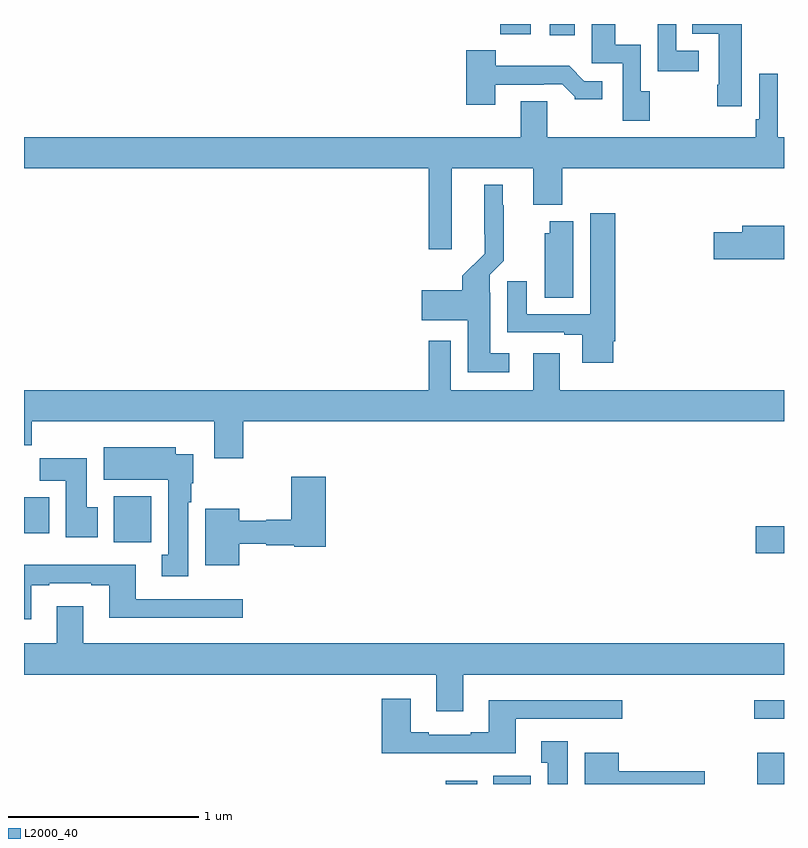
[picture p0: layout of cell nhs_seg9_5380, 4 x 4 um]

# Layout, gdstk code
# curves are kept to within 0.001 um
import gdstk
lib = gdstk.Library(unit=1e-6, precision=1e-09)
def R(c, l, rs):  # rectangles x0, y0, x1, y1
    for r in rs: c.add(gdstk.rectangle(r[:2], r[2:], *l))
def P(c, l, *ps):  # polygons
    for p in ps: c.add(gdstk.Polygon(p, *l))
L2000_40 = (2000, 40)

nhs_seg9_5380 = lib.new_cell('nhs_seg9_5380')
R(nhs_seg9_5380, L2000_40, [(425.219,1206.5,425.386,1206.517), (425.471,1206.5,425.668,1206.544), (426.86,1206.5,427,1206.664), (426.843,1206.843,427,1206.94), (426.852,1207.714,427,1207.856), (423.473,1207.772,423.67,1208.014), (423,1207.82,423.133,1208.008), (425.768,1210.44,425.899,1210.5), (425.506,1210.445,425.668,1210.5)])
P(nhs_seg9_5380, L2000_40, [(426.294,1210.146),(426.246,1210.146),(426.246,1210.39),(426.112,1210.39),(426.112,1210.5),(425.987,1210.5),(425.987,1210.293),(426.15,1210.293),(426.15,1209.99),(426.294,1209.99)],
  [(426.778,1210.5),(426.517,1210.5),(426.517,1210.448),(426.656,1210.448),(426.656,1210.18),(426.649,1210.18),(426.649,1210.068),(426.778,1210.068)],
  [(426.55,1210.359),(426.432,1210.359),(426.432,1210.5),(426.336,1210.5),(426.336,1210.251),(426.55,1210.251)],
  [(425.479,1210.179),(425.735,1210.179),(425.735,1210.182),(425.834,1210.182),(425.898,1210.118),(425.898,1210.103),(426.043,1210.103),(426.043,1210.2),(425.949,1210.2),(425.871,1210.279),(425.482,1210.279),(425.482,1210.363),(425.327,1210.363),(425.327,1210.074),(425.479,1210.074)],
  [(425.251,1209.74),(425.681,1209.74),(425.681,1209.548),(425.834,1209.548),(425.834,1209.74),(427,1209.74),(427,1209.904),(426.967,1209.904),(426.967,1210.237),(426.87,1210.237),(426.87,1210),(426.85,1210),(426.85,1209.904),(425.755,1209.904),(425.755,1210.094),(425.615,1210.094),(425.615,1209.904),(423,1209.904),(423,1209.74),(425.129,1209.74),(425.129,1209.315),(425.251,1209.315)],
  [(425.554,1208.767),(425.455,1208.767),(425.455,1209.086),(425.451,1209.086),(425.451,1209.18),(425.525,1209.254),(425.525,1209.545),(425.521,1209.545),(425.521,1209.655),(425.423,1209.655),(425.424,1209.292),(425.306,1209.174),(425.306,1209.1),(425.094,1209.1),(425.094,1208.942),(425.336,1208.942),(425.336,1208.666),(425.554,1208.666)],
  [(426.1,1208.83),(426.113,1208.83),(426.113,1209.505),(425.981,1209.505),(425.981,1208.973),(425.647,1208.973),(425.647,1209.145),(425.543,1209.145),(425.543,1208.877),(425.843,1208.877),(425.843,1208.865),(425.939,1208.865),(425.939,1208.718),(426.1,1208.718)],
  [(425.89,1209.463),(425.768,1209.463),(425.768,1209.399),(425.741,1209.399),(425.741,1209.058),(425.89,1209.058)],
  [(427,1209.439),(426.779,1209.439),(426.779,1209.405),(426.63,1209.405),(426.63,1209.263),(427,1209.263)],
  [(424.154,1208.408),(427,1208.408),(427,1208.572),(425.821,1208.572),(425.821,1208.767),(425.681,1208.767),(425.681,1208.572),(425.247,1208.572),(425.247,1208.833),(425.131,1208.833),(425.131,1208.572),(423,1208.572),(423,1208.284),(423.041,1208.284),(423.041,1208.408),(424.001,1208.408),(424.001,1208.214),(424.154,1208.214)],
  [(423.865,1207.982),(423.88,1207.982),(423.88,1208.082),(423.892,1208.082),(423.892,1208.236),(423.799,1208.236),(423.799,1208.272),(423.419,1208.272),(423.419,1208.102),(423.758,1208.102),(423.758,1207.706),(423.725,1207.706),(423.725,1207.593),(423.865,1207.593)],
  [(423.388,1207.956),(423.331,1207.956),(423.331,1208.214),(423.082,1208.214),(423.082,1208.096),(423.221,1208.096),(423.221,1207.8),(423.388,1207.8)],
  [(424.132,1207.764),(424.275,1207.764),(424.275,1207.756),(424.422,1207.756),(424.422,1207.748),(424.589,1207.748),(424.589,1208.116),(424.406,1208.116),(424.406,1207.892),(424.275,1207.892),(424.275,1207.885),(424.132,1207.885),(424.132,1207.948),(423.953,1207.948),(423.953,1207.652),(424.132,1207.652)],
  [(423.037,1207.545),(423.133,1207.545),(423.133,1207.557),(423.353,1207.557),(423.353,1207.545),(423.449,1207.545),(423.449,1207.376),(424.15,1207.376),(424.15,1207.473),(423.589,1207.473),(423.589,1207.654),(423,1207.654),(423,1207.368),(423.037,1207.368)],
  [(425.311,1207.076),(427,1207.076),(427,1207.24),(423.313,1207.24),(423.313,1207.435),(423.173,1207.435),(423.173,1207.24),(423,1207.24),(423,1207.076),(425.171,1207.076),(425.171,1206.882),(425.311,1206.882)],
  [(425.587,1206.843),(426.148,1206.843),(426.148,1206.94),(425.447,1206.94),(425.447,1206.772),(425.351,1206.772),(425.351,1206.759),(425.131,1206.759),(425.131,1206.772),(425.035,1206.772),(425.035,1206.949),(424.883,1206.949),(424.883,1206.662),(425.587,1206.662)],
  [(425.863,1206.724),(425.723,1206.724),(425.723,1206.611),(425.756,1206.611),(425.756,1206.5),(425.863,1206.5)],
  [(426.583,1206.566),(426.13,1206.566),(426.13,1206.664),(425.951,1206.664),(425.951,1206.5),(426.583,1206.5)])

lib.write_gds('nhs_seg9_5380.gds')
